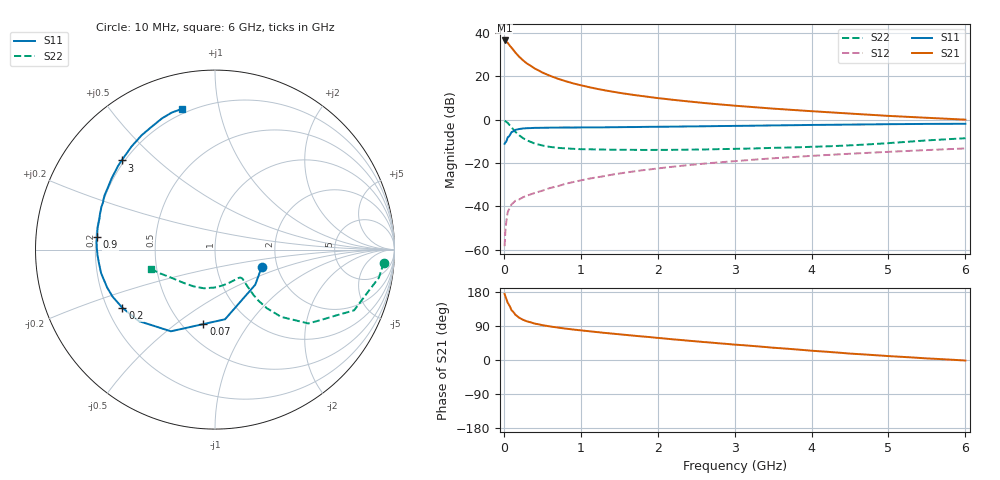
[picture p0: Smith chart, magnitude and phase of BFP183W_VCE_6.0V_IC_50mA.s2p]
! Infineon Technologies  Discrete & RF Semiconductors
! BFP183W
! VCE =  6.0 V,  IC =  50 mA
! Common Emitter S-Parameters:  Jan 2017
# GHz  S  MA  R  50
!  f  S11  S21  S12  S22
! GHz  MAG  ANG  MAG  ANG  MAG  ANG  MAG  ANG
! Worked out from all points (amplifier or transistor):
!   77 points, 10 MHz to 6 GHz, reference 50 ohm
!   highest |S21| = 36.6 dB at 10 MHz (marker M1)
!   |S21| within 3 dB of that: start of sweep to 91.29 MHz
!   unconditionally stable (mu >= 1): 650.9 MHz to 3.338 GHz
!   at 130 MHz: K = 0.40, MSG = 35.0 dB, |S12| = -38.1 dB
!   at 2.2 GHz: K = 1.07, MAG = 13.8 dB, |S12| = -21.7 dB
!   at 6 GHz: K = 0.85, MSG = 6.6 dB, |S12| = -13.3 dB
!   S11 on the Smith chart (normalised r, x): 10 MHz: 1.66, -0.34; 70 MHz: 0.63, -0.64; 200 MHz: 0.26, -0.27; 900 MHz: 0.21, +0.05; 3 GHz: 0.19, +0.39; 6 GHz: 0.17, +0.78
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0.01  0.2778 -19.9  67.7 174.2  0.0012 91.1  0.9434 -4.4
0.02  0.2977 -41.1  66.35 167.6  0.0027 87.5  0.9264 -9.7
0.05  0.3923 -81.8  59.67 151.2  0.0072 62.8  0.8454 -23.6
0.07  0.4201 -98.9  53.48 144.5  0.0087 60.5  0.7671 -28.6
0.1  0.5174 -118.4  46.02 131.4  0.011 58.2  0.6639 -38.3
0.15  0.5819 -136.8  35.58 119.5  0.0134 50.7  0.5251 -45.5
0.2  0.6094 -147.8  28.41 111.5  0.0144 51.4  0.4359 -48.5
0.25  0.6281 -155.4  23.49 106.0  0.0162 51.5  0.3745 -49.6
0.3  0.637 -160.6  19.92 102.0  0.0176 49.9  0.3334 -49.7
0.4  0.648 -168.3  15.28 96.1  0.0203 55.4  0.2818 -48.8
0.5  0.6509 -173.3  12.32 92.0  0.0229 57.7  0.2539 -47.9
0.6  0.6553 -177.2  10.34 88.6  0.0265 59.3  0.2357 -47.2
0.7  0.6582 179.5  8.875 85.7  0.0291 62.8  0.2242 -46.7
0.9  0.6597 173.9  6.918 80.5  0.0363 64.3  0.2127 -47.5
1.1  0.6652 169.2  5.692 76.1  0.0432 66.5  0.2076 -49.1
1.5  0.6727 161.3  4.185 67.9  0.0571 66.8  0.2021 -54.9
2.1  0.6893 150.3  3.02 56.5  0.0785 65.4  0.201 -68.2
3  0.7194 136.3  2.109 40.6  0.1103 60.8  0.2124 -92.9
3.1  0.7223 134.8  2.045 39.2  0.1139 60.2  0.2138 -95.6
4.1  0.7595 121.4  1.535 23.1  0.1495 53.8  0.2394 -122.8
5.1  0.7905 111.1  1.201 9.2  0.1846 47.0  0.2963 -149.0
6  0.8056 103.2  1.003 -1.4  0.2171 40.4  0.3736 -163.2
